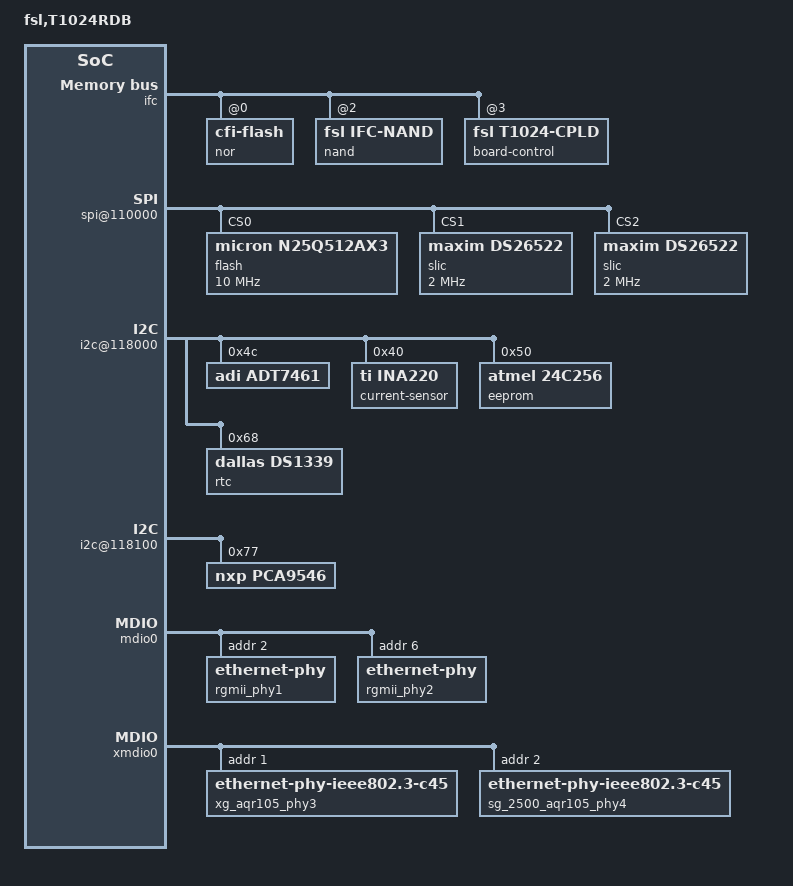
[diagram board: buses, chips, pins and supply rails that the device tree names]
/*
 * T1024 RDB Device Tree Source
 *
 * Copyright 2014 Freescale Semiconductor Inc.
 *
 * Redistribution and use in source and binary forms, with or without
 * modification, are permitted provided that the following conditions are met:
 *     * Redistributions of source code must retain the above copyright
 *	 notice, this list of conditions and the following disclaimer.
 *     * Redistributions in binary form must reproduce the above copyright
 *	 notice, this list of conditions and the following disclaimer in the
 *	 documentation and/or other materials provided with the distribution.
 *     * Neither the name of Freescale Semiconductor nor the
 *	 names of its contributors may be used to endorse or promote products
 *	 derived from this software without specific prior written permission.
 *
 *
 * ALTERNATIVELY, this software may be distributed under the terms of the
 * GNU General Public License ("GPL") as published by the Free Software
 * Foundation, either version 2 of that License or (at your option) any
 * later version.
 *
 * THIS SOFTWARE IS PROVIDED BY Freescale Semiconductor "AS IS" AND ANY
 * EXPRESS OR IMPLIED WARRANTIES, INCLUDING, BUT NOT LIMITED TO, THE IMPLIED
 * WARRANTIES OF MERCHANTABILITY AND FITNESS FOR A PARTICULAR PURPOSE ARE
 * DISCLAIMED. IN NO EVENT SHALL Freescale Semiconductor BE LIABLE FOR ANY
 * DIRECT, INDIRECT, INCIDENTAL, SPECIAL, EXEMPLARY, OR CONSEQUENTIAL DAMAGES
 * (INCLUDING, BUT NOT LIMITED TO, PROCUREMENT OF SUBSTITUTE GOODS OR SERVICES;
 * LOSS OF USE, DATA, OR PROFITS; OR BUSINESS INTERRUPTION) HOWEVER CAUSED AND
 * ON ANY THEORY OF LIABILITY, WHETHER IN CONTRACT, STRICT LIABILITY, OR TORT
 * (INCLUDING NEGLIGENCE OR OTHERWISE) ARISING IN ANY WAY OUT OF THE USE OF THIS
 * SOFTWARE, EVEN IF ADVISED OF THE POSSIBILITY OF SUCH DAMAGE.
 */

/include/ "t102xsi-pre.dtsi"

/ {
	model = "fsl,T1024RDB";
	compatible = "fsl,T1024RDB";
	#address-cells = <2>;
	#size-cells = <2>;
	interrupt-parent = <&mpic>;

	ifc: localbus@ffe124000 {
		reg = <0xf 0xfe124000 0 0x2000>;
		ranges = <0 0 0xf 0xe8000000 0x08000000
			  2 0 0xf 0xff800000 0x00010000
			  3 0 0xf 0xffdf0000 0x00008000>;

		nor@0,0 {
			#address-cells = <1>;
			#size-cells = <1>;
			compatible = "cfi-flash";
			reg = <0x0 0x0 0x8000000>;
			bank-width = <2>;
			device-width = <1>;
		};

		nand@1,0 {
			#address-cells = <1>;
			#size-cells = <1>;
			compatible = "fsl,ifc-nand";
			reg = <0x2 0x0 0x10000>;
		};

		board-control@2,0 {
			#address-cells = <1>;
			#size-cells = <1>;
			compatible = "fsl,t1024-cpld";
			reg = <3 0 0x300>;
			ranges = <0 3 0 0x300>;
			bank-width = <1>;
			device-width = <1>;
		};
	};

	memory {
		device_type = "memory";
	};

	dcsr: dcsr@f00000000 {
		ranges = <0x00000000 0xf 0x00000000 0x01072000>;
	};

	soc: soc@ffe000000 {
		ranges = <0x00000000 0xf 0xfe000000 0x1000000>;
		reg = <0xf 0xfe000000 0 0x00001000>;
		spi@110000 {
			flash@0 {
				#address-cells = <1>;
				#size-cells = <1>;
				compatible = "micron,n25q512ax3", "jedec,spi-nor";
				reg = <0>;
				spi-max-frequency = <10000000>; /* input clk */
			};

			slic@1 {
				compatible = "maxim,ds26522";
				reg = <1>;
				spi-max-frequency = <2000000>;
			};

			slic@2 {
				compatible = "maxim,ds26522";
				reg = <2>;
				spi-max-frequency = <2000000>;
			};
		};

		i2c@118000 {
			adt7461@4c {
				/* Thermal Monitor */
				compatible = "adi,adt7461";
				reg = <0x4c>;
			};

			current-sensor@40 {
				compatible = "ti,ina220";
				reg = <0x40>;
				shunt-resistor = <1000>;
			};

			eeprom@50 {
				compatible = "atmel,24c256";
				reg = <0x50>;
			};

			rtc@68 {
				compatible = "dallas,ds1339";
				reg = <0x68>;
				interrupts = <0x1 0x1 0 0>;
			};
		};

		i2c@118100 {
			pca9546@77 {
				compatible = "nxp,pca9546";
				reg = <0x77>;
				#address-cells = <1>;
				#size-cells = <0>;
			};
		};

		fman@400000 {
			fm1mac1: ethernet@e0000 {
				phy-handle = <&xg_aqr105_phy3>;
				phy-connection-type = "xgmii";
				sleep = <&rcpm 0x80000000>;
			};

			fm1mac2: ethernet@e2000 {
				sleep = <&rcpm 0x40000000>;
			};

			fm1mac3: ethernet@e4000 {
				phy-handle = <&rgmii_phy2>;
				phy-connection-type = "rgmii";
				sleep = <&rcpm 0x20000000>;
			};

			fm1mac4: ethernet@e6000 {
				phy-handle = <&rgmii_phy1>;
				phy-connection-type = "rgmii";
				sleep = <&rcpm 0x10000000>;
			};


			mdio0: mdio@fc000 {
				rgmii_phy1: ethernet-phy@2 {
					reg = <0x2>;
				};
				rgmii_phy2: ethernet-phy@6 {
					reg = <0x6>;
				};
			};

			xmdio0: mdio@fd000 {
				xg_aqr105_phy3: ethernet-phy@1 {
					compatible = "ethernet-phy-ieee802.3-c45";
					reg = <0x1>;
				};
				sg_2500_aqr105_phy4: ethernet-phy@2 {
					compatible = "ethernet-phy-ieee802.3-c45";
					reg = <0x2>;
				};
			};
		};
	};

	pci0: pcie@ffe240000 {
		reg = <0xf 0xfe240000 0 0x10000>;
		ranges = <0x02000000 0 0xe0000000 0xc 0x00000000 0 0x10000000
			  0x01000000 0 0x00000000 0xf 0xf8000000 0 0x00010000>;
		pcie@0 {
			ranges = <0x02000000 0 0xe0000000
				  0x02000000 0 0xe0000000
				  0 0x10000000

				  0x01000000 0 0x00000000
				  0x01000000 0 0x00000000
				  0 0x00010000>;
		};
	};

	pci1: pcie@ffe250000 {
		reg = <0xf 0xfe250000 0 0x10000>;
		ranges = <0x02000000 0 0xe0000000 0xc 0x10000000 0 0x10000000
			  0x01000000 0 0x00000000 0xf 0xf8010000 0 0x00010000>;
		pcie@0 {
			ranges = <0x02000000 0 0xe0000000
				  0x02000000 0 0xe0000000
				  0 0x10000000

				  0x01000000 0 0x00000000
				  0x01000000 0 0x00000000
				  0 0x00010000>;
		};
	};

	pci2: pcie@ffe260000 {
		reg = <0xf 0xfe260000 0 0x10000>;
		ranges = <0x02000000 0 0xe0000000 0xc 0x20000000 0 0x10000000
			  0x01000000 0 0x00000000 0xf 0xf8020000 0 0x00010000>;
		pcie@0 {
			ranges = <0x02000000 0 0xe0000000
				  0x02000000 0 0xe0000000
				  0 0x10000000

				  0x01000000 0 0x00000000
				  0x01000000 0 0x00000000
				  0 0x00010000>;
		};
	};
};

#include "t1024si-post.dtsi"
